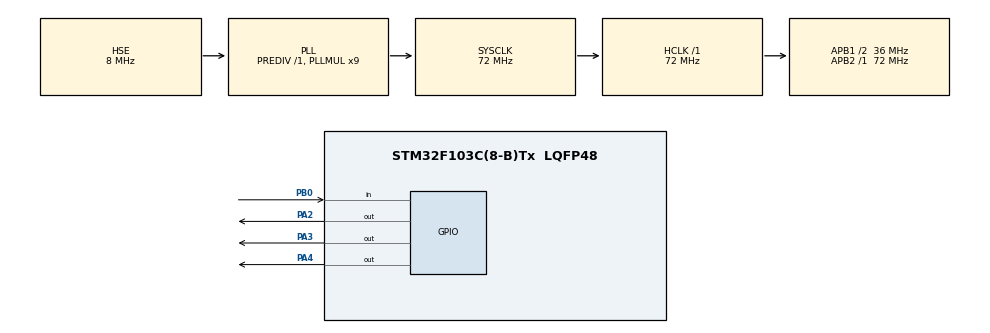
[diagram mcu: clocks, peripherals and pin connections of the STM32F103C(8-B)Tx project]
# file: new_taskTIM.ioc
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Mcu.Family=STM32F1
Mcu.Name=STM32F103C(8-B)Tx
Mcu.Package=LQFP48
NVIC.PriorityGroup=NVIC_PRIORITYGROUP_4
NVIC.TIM2_IRQn=true\:1\:0\:true\:false\:true\:true\:true\:true
PA13.Mode=Serial_Wire
PA13.Signal=SYS_JTMS-SWDIO
PA14.Mode=Serial_Wire
PA14.Signal=SYS_JTCK-SWCLK
PA2.Signal=GPIO_Output
PA3.Signal=GPIO_Output
PA4.Signal=GPIO_Output
PB0.GPIO_PuPd=GPIO_PULLUP
PB0.Signal=GPIO_Input
PD0-OSC_IN.Mode=HSE-External-Oscillator
PD0-OSC_IN.Signal=RCC_OSC_IN
PD1-OSC_OUT.Mode=HSE-External-Oscillator
PD1-OSC_OUT.Signal=RCC_OSC_OUT
ProjectManager.HeapSize=0x200
ProjectManager.StackSize=0x400
ProjectManager.TargetToolchain=MDK-ARM V5.32
RCC.AHBFreq_Value=72000000
RCC.APB1CLKDivider=RCC_HCLK_DIV2
RCC.APB1Freq_Value=36000000
RCC.APB1TimFreq_Value=72000000
RCC.APB2Freq_Value=72000000
RCC.APB2TimFreq_Value=72000000
RCC.HCLKFreq_Value=72000000
RCC.PLLMUL=RCC_PLL_MUL9
RCC.PLLSourceVirtual=RCC_PLLSOURCE_HSE
RCC.SYSCLKFreq_VALUE=72000000
RCC.SYSCLKSource=RCC_SYSCLKSOURCE_PLLCLK
RCC.USBFreq_Value=72000000
TIM2.Period=9999
TIM2.Prescaler=7199
VP_TIM2_VS_ClockSourceINT.Mode=Internal
board=custom

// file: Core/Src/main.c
/* USER CODE BEGIN Header */
/**
  ******************************************************************************
  * @file           : main.c
  * @brief          : Main program body
  ******************************************************************************
  * @attention
  *
  * Copyright (c) 2025 STMicroelectronics.
  * All rights reserved.
  *
  * This software is licensed under terms that can be found in the LICENSE file
  * in the root directory of this software component.
  * If no LICENSE file comes with this software, it is provided AS-IS.
  *
  ******************************************************************************
  */
/* USER CODE END Header */
#include "main.h"
#include "tim.h"
#include "gpio.h"

/* USER CODE BEGIN PD */
// 频率模式对应参数定义
#define FREQ_MODE_0_5HZ    0    // 0.5Hz = 2秒周期
#define FREQ_MODE_0_333HZ  1    // 0.333Hz = 3秒周期
#define FREQ_MODE_0_25HZ   2    // 0.25Hz = 4秒周期
#define LED_ON_DURATION    200  // LED点亮持续时间（ms）
#define KEY_DEBOUNCE_TIME  10   // 按键消抖时间（ms）
// LED引脚定义（PA2/PA3/PA4，与接线对应）
#define LED_RED_PIN    GPIO_PIN_2
#define LED_GREEN_PIN  GPIO_PIN_3
#define LED_BLUE_PIN   GPIO_PIN_4
#define LED_PORT       GPIOA
/* USER CODE END PD */

/* USER CODE BEGIN PV */
uint8_t freq_mode = FREQ_MODE_0_5HZ;  // 当前频率模式（默认0.5Hz）
uint8_t led_flag = 0;                 // LED点亮标记（1=需要熄灭，0=未点亮）
/* USER CODE END PV */

void SystemClock_Config(void);
/* USER CODE BEGIN PFP */
void Key_Scan(void);  // 按键扫描函数声明
/* USER CODE END PFP */

/* USER CODE BEGIN 0 */

/**
  * @brief  定时器中断回调函数（TIM2定时时间到触发）
  * @param  htim: 定时器句柄指针
  * @retval None
  */
void HAL_TIM_PeriodElapsedCallback(TIM_HandleTypeDef *htim)
{
  if(htim->Instance == TIM2)  // 确认是TIM2触发的中断
  {
    // 根据当前频率模式点亮对应LED（PA2=红，PA3=绿，PA4=蓝）
    switch(freq_mode)
    {
      case FREQ_MODE_0_5HZ:
        HAL_GPIO_WritePin(LED_PORT, LED_RED_PIN, GPIO_PIN_SET);    // 0.5Hz → 红灯亮（PA2）
        break;
      case FREQ_MODE_0_333HZ:
        HAL_GPIO_WritePin(LED_PORT, LED_GREEN_PIN, GPIO_PIN_SET);  // 0.333Hz → 绿灯亮（PA3）
        break;
      case FREQ_MODE_0_25HZ:
        HAL_GPIO_WritePin(LED_PORT, LED_BLUE_PIN, GPIO_PIN_SET);   // 0.25Hz → 蓝灯亮（PA4）
        break;
      default:
        break;
    }
    led_flag = 1;  // 标记LED已点亮，等待主循环熄灭
  }
}

/**
  * @brief  按键扫描函数（带消抖，切换频率模式）
  * @param  None
  * @retval None
  */
void Key_Scan(void)
{
  static uint8_t key_state = 0;    // 按键状态：0=未按下，1=已按下
  static uint32_t key_timer = 0;   // 消抖计时变量

  // 检测按键是否按下（PB0为低电平，内部上拉）
  if(HAL_GPIO_ReadPin(GPIOB, GPIO_PIN_0) == GPIO_PIN_RESET)
  {
    key_timer++;  // 按下状态计时
    if(key_timer >= KEY_DEBOUNCE_TIME)  // 满足消抖时间
    {
      key_state = 1;  // 标记按键已稳定按下
    }
  }
  else  // 按键松开
  {
    if(key_state == 1)  // 之前是稳定按下状态，现在松开 → 确认一次有效按键
    {
      // 切换频率模式（循环：0→1→2→0）
      freq_mode = (freq_mode + 1) % 3;

      // 根据新模式更新TIM2的自动重装值（实现不同定时周期）
      switch(freq_mode)
      {
        case FREQ_MODE_0_5HZ:  // 2秒周期 = 10kHz时钟 × 20000计数（预分频后为10kHz）
          __HAL_TIM_SET_AUTORELOAD(&htim2, 19999);
          break;
        case FREQ_MODE_0_333HZ:  // 3秒周期 = 10kHz × 30000计数
          __HAL_TIM_SET_AUTORELOAD(&htim2, 29999);
          break;
        case FREQ_MODE_0_25HZ:  // 4秒周期 = 10kHz × 40000计数
          __HAL_TIM_SET_AUTORELOAD(&htim2, 39999);
          break;
        default:
          break;
      }
      __HAL_TIM_SET_COUNTER(&htim2, 0);  // 重置计数器，新周期立即生效
      key_state = 0;  // 重置按键状态
    }
    key_timer = 0;  // 松开时重置计时
  }
}

/* USER CODE END 0 */

int main(void)
{

  /* MCU Configuration--------------------------------------------------------*/

  /* Reset of all peripherals, Initializes the Flash interface and the Systick. */
  HAL_Init();

  /* Configure the system clock */
  SystemClock_Config();

  /* Initialize all configured peripherals */
  MX_GPIO_Init();
  MX_TIM2_Init();
  /* USER CODE BEGIN 2 */
  HAL_TIM_Base_Start_IT(&htim2);  // 启动TIM2定时中断
  /* USER CODE END 2 */

  /* Infinite loop */
  while (1)
  {

    /* USER CODE BEGIN 3 */
    Key_Scan();  // 实时扫描按键，检测频率切换指令

    // 若LED已点亮，延时后熄灭（满足"触发后消除"要求）
    if(led_flag == 1)
    {
      HAL_Delay(LED_ON_DURATION);  // LED保持点亮200ms（肉眼清晰可见）
      // 熄灭所有LED（PA2/PA3/PA4），避免多灯同时亮
      HAL_GPIO_WritePin(LED_PORT, LED_RED_PIN | LED_GREEN_PIN | LED_BLUE_PIN, GPIO_PIN_RESET);
      led_flag = 0;  // 重置LED状态标记
    }
  }
  /* USER CODE END 3 */
}

void SystemClock_Config(void)
{
  RCC_OscInitTypeDef RCC_OscInitStruct = {0};
  RCC_ClkInitTypeDef RCC_ClkInitStruct = {0};

  /** Initializes the RCC Oscillators according to the specified parameters
  * in the RCC_OscInitTypeDef structure.
  */
  RCC_OscInitStruct.OscillatorType = RCC_OSCILLATORTYPE_HSE;
  RCC_OscInitStruct.HSEState = RCC_HSE_ON;
  RCC_OscInitStruct.HSEPredivValue = RCC_HSE_PREDIV_DIV1;
  RCC_OscInitStruct.HSIState = RCC_HSI_ON;
  RCC_OscInitStruct.PLL.PLLState = RCC_PLL_ON;
  RCC_OscInitStruct.PLL.PLLSource = RCC_PLLSOURCE_HSE;
  RCC_OscInitStruct.PLL.PLLMUL = RCC_PLL_MUL9;
  if (HAL_RCC_OscConfig(&RCC_OscInitStruct) != HAL_OK)
  {
    Error_Handler();
  }

  /** Initializes the CPU, AHB and APB buses clocks
  */
  RCC_ClkInitStruct.ClockType = RCC_CLOCKTYPE_HCLK|RCC_CLOCKTYPE_SYSCLK
                              |RCC_CLOCKTYPE_PCLK1|RCC_CLOCKTYPE_PCLK2;
  RCC_ClkInitStruct.SYSCLKSource = RCC_SYSCLKSOURCE_PLLCLK;
  RCC_ClkInitStruct.AHBCLKDivider = RCC_SYSCLK_DIV1;
  RCC_ClkInitStruct.APB1CLKDivider = RCC_HCLK_DIV2;
  RCC_ClkInitStruct.APB2CLKDivider = RCC_HCLK_DIV1;

  if (HAL_RCC_ClockConfig(&RCC_ClkInitStruct, FLASH_LATENCY_2) != HAL_OK)
  {
    Error_Handler();
  }
}

void Error_Handler(void)
{
  __disable_irq();
  while (1)
  {
  }
}
